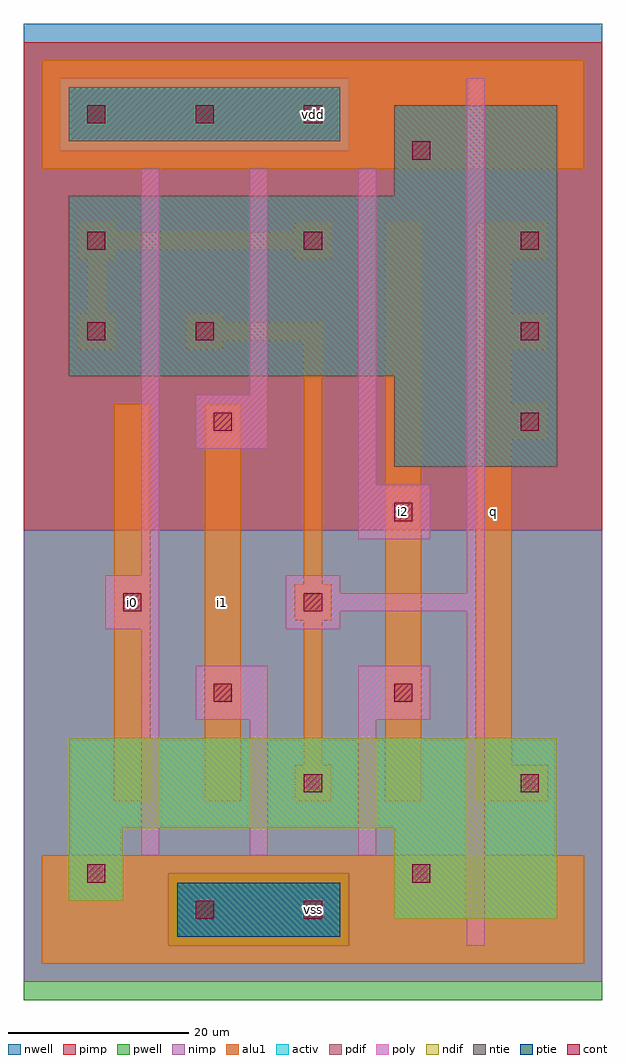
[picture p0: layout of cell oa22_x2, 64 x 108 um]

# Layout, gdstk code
import gdstk
lib = gdstk.Library(unit=1e-6, precision=1e-09)
def R(c, l, rs):  # rectangles x0, y0, x1, y1
    for r in rs: c.add(gdstk.rectangle(r[:2], r[2:], *l))
def A(c, l, x, y, w, h, nx, ny, dx, dy):  # array of equal rectangles
    R(c, l, [(x+i*dx, y+j*dy, x+i*dx+w, y+j*dy+h) for i in range(nx) for j in range(ny)])
ndif = (3, 0)
pdif = (4, 0)
ntie = (5, 0)
ptie = (6, 0)
cont = (25, 0)
pwell = (41, 0)
nwell = (42, 0)
activ = (43, 0)
pimp = (44, 0)
nimp = (45, 0)
poly = (46, 0)
alu1 = (49, 0)

oa22_x2 = lib.new_cell('oa22_x2')
R(oa22_x2, ndif, [(39,5,57,15), (3,7,9,15), (3,15,57,25)])
R(oa22_x2, pdif, [(39,55,57,65), (3,65,57,85), (39,85,57,95)])
R(oa22_x2, ntie, [(3,91,33,97)])
R(oa22_x2, ptie, [(15,3,33,9)])
A(oa22_x2, cont, 5, 79, 2, 2, 3, 1, 24, 0)
A(oa22_x2, cont, 5, 93, 2, 2, 3, 1, 12, 0)
R(oa22_x2, cont, [(17,5,19,7), (29,5,31,7), (5,9,7,11), (41,9,43,11), (29,19,31,21), (53,19,55,21), (19,29,21,31), (39,29,41,31), (9,39,11,41), (29,39,31,41), (39,49,41,51), (19,59,21,61), (53,59,55,61), (5,69,7,71), (17,69,19,71), (53,69,55,71), (41,89,43,91)])
R(oa22_x2, pwell, [(-2,-4,62,48)])
R(oa22_x2, nwell, [(-2,48,62,104)])
R(oa22_x2, activ, [(15,3,33,9), (39,5,57,15), (3,7,9,15), (3,15,57,25), (39,55,57,65), (3,65,57,85), (39,85,57,95), (3,91,33,97)])
R(oa22_x2, pimp, [(14,2,34,10), (-2,48,62,90), (-2,90,2,98), (34,90,62,98), (-2,98,62,102)])
R(oa22_x2, nimp, [(-2,-2,62,2), (-2,2,14,10), (34,2,62,10), (-2,10,62,48), (2,90,34,98)])
R(oa22_x2, poly, [(47,2,49,39), (11,12,13,37), (23,12,25,27), (35,12,37,27), (17,27,25,33), (35,27,43,33), (7,37,13,43), (27,37,33,39), (27,39,49,41), (27,41,33,43), (47,41,49,98), (11,43,13,88), (35,47,43,53), (35,53,37,88), (17,57,25,63), (23,63,25,88)])
A(oa22_x2, alu1, 48, 58, 8, 4, 1, 3, 0, 10)
R(oa22_x2, alu1, [(0,0,60,12), (8,18,12,62), (18,18,22,62), (28,18,32,22), (38,18,42,82), (48,18,56,22), (29,22,31,38), (48,22,52,58), (28,38,32,42), (29,42,31,69), (48,62,52,68), (4,68,8,72), (16,68,20,69), (16,69,31,71), (16,71,20,72), (5,72,7,78), (48,72,52,78), (4,78,8,79), (28,78,32,79), (4,79,32,81), (4,81,8,82), (28,81,32,82), (0,88,60,100)])
oa22_x2.add(gdstk.Label('i0', (10,40), layer=49, texttype=0))
oa22_x2.add(gdstk.Label('i1', (20,40), layer=49, texttype=0))
oa22_x2.add(gdstk.Label('vss', (30,6), layer=49, texttype=0))
oa22_x2.add(gdstk.Label('i2', (40,50), layer=49, texttype=0))
oa22_x2.add(gdstk.Label('vdd', (30,94), layer=49, texttype=0))
oa22_x2.add(gdstk.Label('q', (50,50), layer=49, texttype=0))

lib.write_gds('oa22_x2.gds')
